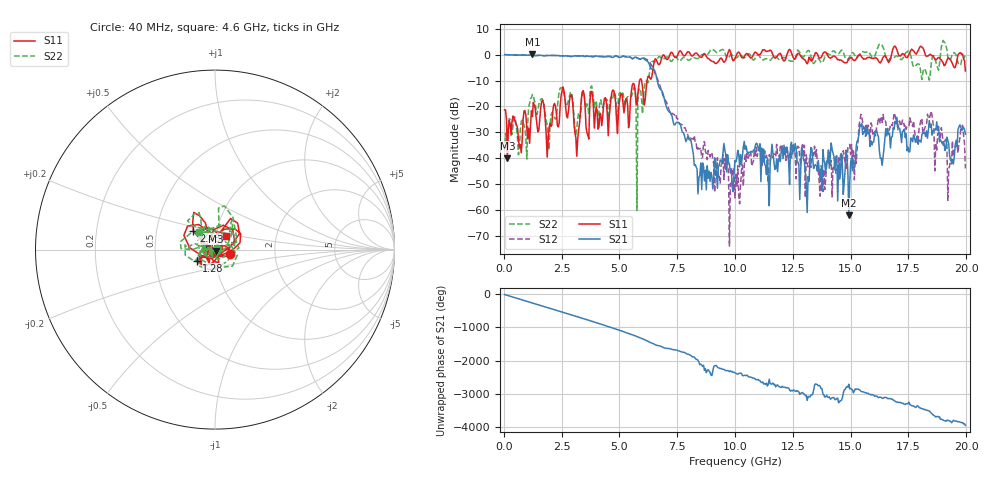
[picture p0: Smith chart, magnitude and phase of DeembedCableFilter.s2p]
# MHz MA S R 50.0
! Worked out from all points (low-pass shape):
!   499 points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, 40 MHz to 19.96 GHz, reference 50 ohm
!   highest |S21| = 0.25 dB at 1.24 GHz (marker M1); lowest = -62.0 dB at 14.92 GHz (marker M2)
!   |S21| within 3 dB of the highest: start of sweep to 6.235 GHz
!   lowest |S11| = -40.1 dB at 160 MHz (marker M3), VSWR 1.02, Z = 50.6 - j0.756 ohm
!   |S11| at or under -10 dB: start of sweep to 5.877 GHz; 5.961 GHz to 6.199 GHz (237.2 MHz wide, 3.9 % of centre)
!   |S22| runs from -60.2 to 5.5 dB; largest |S21 - S12| = 0.13
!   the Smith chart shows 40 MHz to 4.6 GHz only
!   S11 on the Smith chart (normalised r, x): 40 MHz: 1.18, -0.05; 1.28 GHz: 0.81, -0.10; 2.48 GHz: 0.77, +0.16; 4.6 GHz: 1.12, +0.17
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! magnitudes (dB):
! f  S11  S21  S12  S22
! 40 MHz  -21.3  0.0  0.0  -37.3
! 160 MHz  -40.1  -0.1  -0.1  -37.2
! 960 MHz  -23.5  -0.2  -0.2  -32.3
! 1.24 GHz  -24.0  0.2  0.4  -15.4
! 1.28 GHz  -18.5  0.0  0.1  -15.5
! 1.92 GHz  -33.4  -0.4  -0.3  -32.9
! 2.48 GHz  -16.0  -0.5  -0.5  -12.7
! 3.16 GHz  -39.2  -0.5  -0.5  -28.7
! 3.36 GHz  -17.0  -0.5  -0.4  -17.9
! 4.6 GHz  -20.2  -0.8  -0.7  -17.5
! 5.8 GHz  -15.1  -1.4  -1.3  -18.0
! 6.68 GHz  -3.7  -11.6  -10.1  -1.1
! 8.48 GHz  -0.9  -46.6  -36.4  -0.7
! 10 GHz  -1.5  -40.9  -55.4  -1.3
! 13.32 GHz  -2.5  -36.3  -38.9  -2.0
! 14.92 GHz  -1.8  -62.0  -35.6  -1.4
! 15.44 GHz  -0.3  -27.6  -23.1  0.8
! 16.64 GHz  -3.0  -30.9  -29.7  -2.2
! 18.4 GHz  -0.1  -25.4  -24.8  -9.8
! 19.28 GHz  -1.7  -39.3  -42.9  -2.2
! 19.8 GHz  0.1  -29.2  -27.9  -2.0
! 19.96 GHz  -6.3  -30.8  -44.0  -0.3
